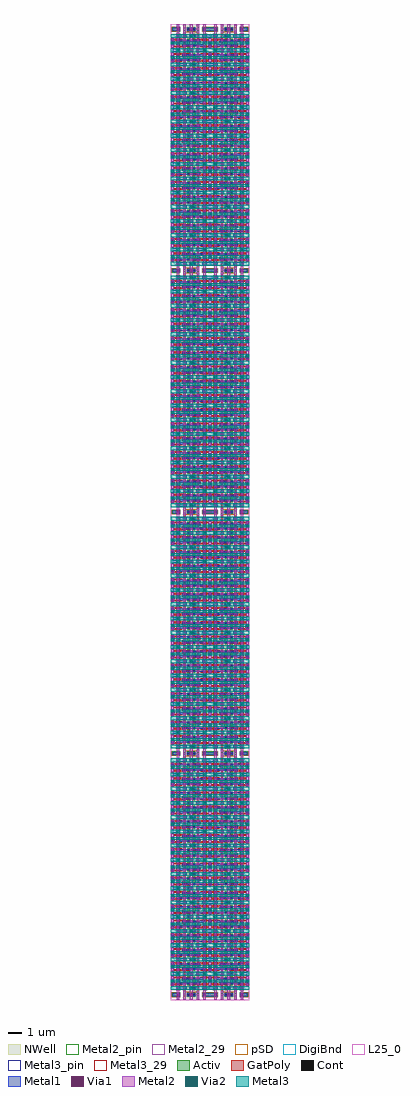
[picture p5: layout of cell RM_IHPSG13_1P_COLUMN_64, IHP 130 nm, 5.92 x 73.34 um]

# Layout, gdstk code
from math import pi, radians
import gdstk
lib = gdstk.Library(unit=1e-6, precision=1e-09)
def R(c, l, rs):  # rectangles x0, y0, x1, y1
    for r in rs: c.add(gdstk.rectangle(r[:2], r[2:], *l))
def A(c, l, x, y, w, h, nx, ny, dx, dy):  # array of equal rectangles
    R(c, l, [(x+i*dx, y+j*dy, x+i*dx+w, y+j*dy+h) for i in range(nx) for j in range(ny)])
def P(c, l, *ps):  # polygons
    for p in ps: c.add(gdstk.Polygon(p, *l))
Activ = (1, 0)
GatPoly = (5, 0)
Cont = (6, 0)
Metal1 = (8, 0)
Metal2 = (10, 0)
Metal2_pin = (10, 2)
Metal2_29 = (10, 29)
pSD = (14, 0)
DigiBnd = (16, 0)
Via1 = (19, 0)
L25_0 = (25, 0)
Via2 = (29, 0)
Metal3 = (30, 0)
Metal3_pin = (30, 2)
Metal3_29 = (30, 29)
NWell = (31, 0)

rm_ihpsg13_1p_bitkit_16x = lib.new_cell('RM_IHPSG13_1P_BITKIT_16x2_EDGE_TB')

via_m1_activ_db_0x02835b = lib.new_cell('VIA_M1_Activ_db_0x02835b9b')
R(via_m1_activ_db_0x02835b, Activ, [(-0.15,-0.15,0.15,0.15)])
R(via_m1_activ_db_0x02835b, Cont, [(-0.08,-0.08,0.08,0.08)])
R(via_m1_activ_db_0x02835b, Metal1, [(-0.13,-0.08,0.13,0.08)])

m1_gatpoly_cdns_75648116 = lib.new_cell('M1_GatPoly_CDNS_7564811692544')
R(m1_gatpoly_cdns_75648116, GatPoly, [(-0.15,-0.15,0.15,0.15)])
R(m1_gatpoly_cdns_75648116, Cont, [(-0.08,-0.08,0.08,0.08)])
R(m1_gatpoly_cdns_75648116, Metal1, [(-0.13,-0.08,0.13,0.08)])

rm_ihpsg13_1p_bitkit_cel = lib.new_cell('RM_IHPSG13_1P_BITKIT_CELL_SUB')
R(rm_ihpsg13_1p_bitkit_cel, Activ, [(-1.145,-0.685,-0.845,0.15), (-0.305,-0.32,-0.105,-0.02), (-0.305,-0.21,-0.155,0.66), (-1.145,-0.15,-0.845,0.66), (-0.305,0.385,-0.105,0.685)])
R(rm_ihpsg13_1p_bitkit_cel, GatPoly, [(-1.315,-0.32,-0.665,-0.19), (-0.705,0.16,-0.37,0.29), (-0.445,0.16,-0.025,0.29), (-1.315,0.19,-0.625,0.32)])
R(rm_ihpsg13_1p_bitkit_cel, Cont, [(-0.285,-0.25,-0.125,-0.09), (-1.075,-0.08,-0.915,0.08), (-1.075,-0.08,-0.915,0.08), (-0.285,0.455,-0.125,0.615)])
R(rm_ihpsg13_1p_bitkit_cel, Metal1, [(-1.125,-0.64,-0.355,-0.43), (-1.535,-0.255,-1.275,0.145), (-1.075,-0.25,0,-0.09), (-0.285,-0.25,-0.125,-0.09), (-1.075,-0.15,-0.915,0.15), (-0.685,0.09,0,0.25), (-0.335,0.43,0.145,0.64)])
P(rm_ihpsg13_1p_bitkit_cel, pSD, [(-0.405,-0.865),(-0.525,-0.745),(-0.525,0.745),(-0.405,0.865),(0.12,0.865),(0.12,-0.865)])
R(rm_ihpsg13_1p_bitkit_cel, Via1, [(-0.595,-0.63,-0.405,-0.44), (-1.5,-0.095,-1.31,0.095), (-1.09,0.44,-0.9,0.63), (-0.095,0.44,0.095,0.63)])
R(rm_ihpsg13_1p_bitkit_cel, NWell, [(-0.575,-0.995,0.205,0.995)])
rm_ihpsg13_1p_bitkit_cel.add(gdstk.FlexPath([(-0.83,0.535),(-1.405,0.535)], 0.21, ends="flush", simple_path=True, layer=8, datatype=0))  # Metal1
rm_ihpsg13_1p_bitkit_cel.add(gdstk.FlexPath([(-1.405,-0.36),(-1.405,0.36)], 0.2, ends="flush", simple_path=True, layer=10, datatype=0))  # Metal2
rm_ihpsg13_1p_bitkit_cel.add(gdstk.FlexPath([(-0.995,-0.68),(-0.995,0.68)], 0.2, ends="flush", simple_path=True, layer=10, datatype=0))  # Metal2
rm_ihpsg13_1p_bitkit_cel.add(gdstk.FlexPath([(-0.5,-0.68),(-0.5,0.68)], 0.2, ends="flush", simple_path=True, layer=10, datatype=0))  # Metal2
rm_ihpsg13_1p_bitkit_cel.add(gdstk.FlexPath([(0,-0.68),(0,0.68)], 0.2, ends="flush", simple_path=True, layer=10, datatype=0))  # Metal2
rm_ihpsg13_1p_bitkit_cel.add(gdstk.Reference(via_m1_activ_db_0x02835b, (-0.995,0.535)))
rm_ihpsg13_1p_bitkit_cel.add(gdstk.Reference(via_m1_activ_db_0x02835b, (-0.995,-0.535), rotation=pi))
rm_ihpsg13_1p_bitkit_cel.add(gdstk.Reference(m1_gatpoly_cdns_75648116, (-1.405,-0.17)))
rm_ihpsg13_1p_bitkit_cel.add(gdstk.Reference(m1_gatpoly_cdns_75648116, (-0.555,0.17)))
rm_ihpsg13_1p_bitkit_cel.add(gdstk.Label('pmos', (-0.33,0.225), layer=63, texttype=0))
rm_ihpsg13_1p_bitkit_cel.add(gdstk.Label('nmos', (-0.995,0.255), layer=63, texttype=0))
rm_ihpsg13_1p_bitkit_cel.add(gdstk.Label('nmos', (-0.995,-0.255), layer=63, texttype=0))

lvsres_db_0x02834b9a = lib.new_cell('lvsres_db_0x02834b9a')
R(lvsres_db_0x02834b9a, Metal3, [(-0.5,0,0.5,0.2)])
R(lvsres_db_0x02834b9a, Metal3_pin, [(-0.5,0,-0.3,0.2), (0.3,0,0.5,0.2)])
R(lvsres_db_0x02834b9a, Metal3_29, [(-0.3,0,0.3,0.2)])
lvsres_db_0x02834b9a.add(gdstk.Label('MINUS', (0.4,0.1), layer=63, texttype=0))
lvsres_db_0x02834b9a.add(gdstk.Label('PLUS', (-0.4,0.1), layer=63, texttype=0))

lvsres_db_0x0283509a = lib.new_cell('lvsres_db_0x0283509a')
R(lvsres_db_0x0283509a, Metal2, [(-0.5,0,0.5,0.2)])
R(lvsres_db_0x0283509a, Metal2_pin, [(-0.5,0,-0.3,0.2), (0.3,0,0.5,0.2)])
R(lvsres_db_0x0283509a, Metal2_29, [(-0.3,0,0.3,0.2)])
lvsres_db_0x0283509a.add(gdstk.Label('MINUS', (0.4,0.1), layer=63, texttype=0))
lvsres_db_0x0283509a.add(gdstk.Label('PLUS', (-0.4,0.1), layer=63, texttype=0))

c_rm_ihpsg13_1p_bitkit_cel = lib.new_cell('RM_IHPSG13_1P_BITKIT_CELL')
A(c_rm_ihpsg13_1p_bitkit_cel, Metal2_pin, -1.095, -0.68, 0.2, 1.36, 3, 1, 0.995, 0)
R(c_rm_ihpsg13_1p_bitkit_cel, Metal2_pin, [(-0.6,-0.63,-0.4,-0.44), (0.4,-0.63,0.6,-0.44), (-0.6,0.44,-0.4,0.63), (0.4,0.44,0.6,0.63)])
R(c_rm_ihpsg13_1p_bitkit_cel, DigiBnd, [(-1.555,-0.995,1.555,0.995)])
R(c_rm_ihpsg13_1p_bitkit_cel, Via1, [(-1.5,-0.095,-1.31,0.095)])
R(c_rm_ihpsg13_1p_bitkit_cel, L25_0, [(-1.555,-0.995,1.555,0.995)])
R(c_rm_ihpsg13_1p_bitkit_cel, Via2, [(-1.5,-0.095,-1.31,0.095), (1.31,-0.095,1.5,0.095)])
R(c_rm_ihpsg13_1p_bitkit_cel, Metal3_pin, [(-1.55,-0.1,-1.5,0.1), (1.5,-0.1,1.55,0.1)])
c_rm_ihpsg13_1p_bitkit_cel.add(gdstk.FlexPath([(1.55,0),(-1.55,0)], 0.2, ends="flush", simple_path=True, layer=30, datatype=0))  # Metal3
c_rm_ihpsg13_1p_bitkit_cel.add(gdstk.Reference(rm_ihpsg13_1p_bitkit_cel, (0,0)))
c_rm_ihpsg13_1p_bitkit_cel.add(gdstk.Reference(rm_ihpsg13_1p_bitkit_cel, (0,0), rotation=pi))
c_rm_ihpsg13_1p_bitkit_cel.add(gdstk.Reference(lvsres_db_0x02834b9a, (0,0.1), rotation=pi))
c_rm_ihpsg13_1p_bitkit_cel.add(gdstk.Reference(lvsres_db_0x0283509a, (-0.4,0), rotation=pi/2))
c_rm_ihpsg13_1p_bitkit_cel.add(gdstk.Reference(lvsres_db_0x0283509a, (0.6,0), rotation=pi/2))
c_rm_ihpsg13_1p_bitkit_cel.add(gdstk.Label('BLT_TOP', (-0.5,0.535), layer=10, texttype=25))
c_rm_ihpsg13_1p_bitkit_cel.add(gdstk.Label('BLT_BOT', (-0.5,-0.535), layer=10, texttype=25))
c_rm_ihpsg13_1p_bitkit_cel.add(gdstk.Label('VSS', (0.995,-0.02), layer=10, texttype=25))
c_rm_ihpsg13_1p_bitkit_cel.add(gdstk.Label('VSS', (-0.995,0), layer=10, texttype=25))
c_rm_ihpsg13_1p_bitkit_cel.add(gdstk.Label('VDD', (0,0), layer=10, texttype=25))
c_rm_ihpsg13_1p_bitkit_cel.add(gdstk.Label('BLC_TOP', (0.5,0.535), layer=10, texttype=25))
c_rm_ihpsg13_1p_bitkit_cel.add(gdstk.Label('BLC_BOT', (0.5,-0.535), layer=10, texttype=25))
c_rm_ihpsg13_1p_bitkit_cel.add(gdstk.Label('RWL', (1.525,0), layer=30, texttype=25))
c_rm_ihpsg13_1p_bitkit_cel.add(gdstk.Label('LWL', (-1.525,0), layer=30, texttype=25))

c_rm_ihpsg13_1p_bitkit_cel_ = lib.new_cell('RM_IHPSG13_1P_BITKIT_CELL_2x1')
R(c_rm_ihpsg13_1p_bitkit_cel_, Via2, [(-0.095,-0.63,0.095,-0.44), (-1.09,0.44,-0.9,0.63), (0.9,0.44,1.09,0.63), (-0.095,1.51,0.095,1.7)])
c_rm_ihpsg13_1p_bitkit_cel_.add(gdstk.FlexPath([(-1.55,0.535),(1.55,0.535)], 0.28, ends="flush", simple_path=True, layer=30, datatype=0))  # Metal3
c_rm_ihpsg13_1p_bitkit_cel_.add(gdstk.FlexPath([(-1.55,1.605),(1.55,1.605)], 0.28, ends="flush", simple_path=True, layer=30, datatype=0))  # Metal3
c_rm_ihpsg13_1p_bitkit_cel_.add(gdstk.FlexPath([(-1.55,-0.535),(1.55,-0.535)], 0.28, ends="flush", simple_path=True, layer=30, datatype=0))  # Metal3
c_rm_ihpsg13_1p_bitkit_cel_.add(gdstk.Reference(c_rm_ihpsg13_1p_bitkit_cel, (0,0)))
c_rm_ihpsg13_1p_bitkit_cel_.add(gdstk.Reference(c_rm_ihpsg13_1p_bitkit_cel, (0,1.07), x_reflection=True))

rm_ihpsg13_1p_bitkit_tap = lib.new_cell('RM_IHPSG13_1P_BITKIT_TAP')
R(rm_ihpsg13_1p_bitkit_tap, Activ, [(-1.48,-0.15,-0.845,0.15), (-0.295,-0.15,0.295,0.15), (-0.295,-0.15,0.005,0.15), (-0.005,-0.15,0.295,0.15), (0.845,-0.15,1.595,0.15)])
R(rm_ihpsg13_1p_bitkit_tap, Cont, [(-0.275,-0.08,-0.115,0.08), (0.115,-0.08,0.275,0.08)])
R(rm_ihpsg13_1p_bitkit_tap, Metal1, [(-1.405,-0.105,-0.85,0.105), (-0.325,-0.105,0.325,0.105), (0.85,-0.105,1.595,0.105), (-0.325,-0.08,-0.015,0.08), (0.015,-0.08,0.325,0.08)])
R(rm_ihpsg13_1p_bitkit_tap, pSD, [(-1.51,-0.18,-0.815,0.18), (0.815,-0.18,1.625,0.18)])
R(rm_ihpsg13_1p_bitkit_tap, DigiBnd, [(-1.555,-0.39,1.67,0.395)])
A(rm_ihpsg13_1p_bitkit_tap, Via1, -1.09, -0.095, 0.19, 0.19, 3, 1, 0.995, 0)
R(rm_ihpsg13_1p_bitkit_tap, L25_0, [(-1.555,-0.39,1.67,0.395)])
R(rm_ihpsg13_1p_bitkit_tap, NWell, [(-0.575,-0.39,0.575,0.395)])
rm_ihpsg13_1p_bitkit_tap.add(gdstk.FlexPath([(0,-0.365),(0,0.365)], 0.2, ends="flush", simple_path=True, layer=10, datatype=0))  # Metal2
rm_ihpsg13_1p_bitkit_tap.add(gdstk.FlexPath([(-0.995,-0.365),(-0.995,0.365)], 0.2, ends="flush", simple_path=True, layer=10, datatype=0))  # Metal2
rm_ihpsg13_1p_bitkit_tap.add(gdstk.FlexPath([(0.995,-0.365),(0.995,0.365)], 0.2, ends="flush", simple_path=True, layer=10, datatype=0))  # Metal2
rm_ihpsg13_1p_bitkit_tap.add(gdstk.FlexPath([(0.5,-0.365),(0.5,0.365)], 0.2, ends="flush", simple_path=True, layer=10, datatype=0))  # Metal2
rm_ihpsg13_1p_bitkit_tap.add(gdstk.FlexPath([(-0.5,-0.365),(-0.5,0.365)], 0.2, ends="flush", simple_path=True, layer=10, datatype=0))  # Metal2
rm_ihpsg13_1p_bitkit_tap.add(gdstk.Reference(via_m1_activ_db_0x02835b, (-0.995,0)))
rm_ihpsg13_1p_bitkit_tap.add(gdstk.Reference(via_m1_activ_db_0x02835b, (0.995,0), rotation=pi, x_reflection=True))

c_rm_ihpsg13_1p_bitkit_16x = lib.new_cell('RM_IHPSG13_1P_BITKIT_16x2_SRAM')
R(c_rm_ihpsg13_1p_bitkit_16x, Metal2_pin, [(0.805,-1.145,1.005,-0.945), (1.805,-1.145,2.005,-0.945), (3.615,-1.145,3.815,-0.945), (4.615,-1.145,4.815,-0.945), (0.805,16.995,1.005,17.195), (1.805,16.995,2.005,17.195), (3.615,16.995,3.815,17.195), (4.615,16.995,4.815,17.195)])
A(c_rm_ihpsg13_1p_bitkit_16x, Metal3_pin, -0.145, -0.1, 0.05, 0.2, 1, 16, 0, 1.07)
A(c_rm_ihpsg13_1p_bitkit_16x, Metal3_pin, 5.715, -0.1, 0.05, 0.2, 1, 16, 0, 1.07)
R(c_rm_ihpsg13_1p_bitkit_16x, Metal3_pin, [(-0.145,-0.675,5.765,-0.395), (-0.145,0.395,5.765,0.675)])
c_rm_ihpsg13_1p_bitkit_16x.add(gdstk.Reference(c_rm_ihpsg13_1p_bitkit_cel_, (1.405,0)))
c_rm_ihpsg13_1p_bitkit_16x.add(gdstk.Reference(c_rm_ihpsg13_1p_bitkit_cel_, (1.405,4.28)))
c_rm_ihpsg13_1p_bitkit_16x.add(gdstk.Reference(c_rm_ihpsg13_1p_bitkit_cel_, (1.405,8.56)))
c_rm_ihpsg13_1p_bitkit_16x.add(gdstk.Reference(c_rm_ihpsg13_1p_bitkit_cel_, (1.405,12.84)))
c_rm_ihpsg13_1p_bitkit_16x.add(gdstk.Reference(c_rm_ihpsg13_1p_bitkit_cel_, (4.215,16.05), rotation=pi))
c_rm_ihpsg13_1p_bitkit_16x.add(gdstk.Reference(c_rm_ihpsg13_1p_bitkit_cel_, (4.215,11.77), rotation=pi))
c_rm_ihpsg13_1p_bitkit_16x.add(gdstk.Reference(c_rm_ihpsg13_1p_bitkit_cel_, (4.215,7.49), rotation=pi))
c_rm_ihpsg13_1p_bitkit_16x.add(gdstk.Reference(c_rm_ihpsg13_1p_bitkit_cel_, (4.215,3.21), rotation=pi))
c_rm_ihpsg13_1p_bitkit_16x.add(gdstk.Reference(c_rm_ihpsg13_1p_bitkit_cel_, (1.405,11.77), x_reflection=True))
c_rm_ihpsg13_1p_bitkit_16x.add(gdstk.Reference(c_rm_ihpsg13_1p_bitkit_cel_, (1.405,16.05), x_reflection=True))
c_rm_ihpsg13_1p_bitkit_16x.add(gdstk.Reference(c_rm_ihpsg13_1p_bitkit_cel_, (1.405,7.49), x_reflection=True))
c_rm_ihpsg13_1p_bitkit_16x.add(gdstk.Reference(c_rm_ihpsg13_1p_bitkit_cel_, (1.405,3.21), x_reflection=True))
c_rm_ihpsg13_1p_bitkit_16x.add(gdstk.Reference(c_rm_ihpsg13_1p_bitkit_cel_, (4.215,8.56), rotation=pi, x_reflection=True))
c_rm_ihpsg13_1p_bitkit_16x.add(gdstk.Reference(c_rm_ihpsg13_1p_bitkit_cel_, (4.215,12.84), rotation=pi, x_reflection=True))
c_rm_ihpsg13_1p_bitkit_16x.add(gdstk.Reference(c_rm_ihpsg13_1p_bitkit_cel_, (4.215,4.28), rotation=pi, x_reflection=True))
c_rm_ihpsg13_1p_bitkit_16x.add(gdstk.Reference(c_rm_ihpsg13_1p_bitkit_cel_, (4.215,0), rotation=pi, x_reflection=True))
c_rm_ihpsg13_1p_bitkit_16x.add(gdstk.Reference(rm_ihpsg13_1p_bitkit_tap, (1.405,-1.045)))
c_rm_ihpsg13_1p_bitkit_16x.add(gdstk.Reference(rm_ihpsg13_1p_bitkit_tap, (4.215,17.095), rotation=pi))
c_rm_ihpsg13_1p_bitkit_16x.add(gdstk.Reference(rm_ihpsg13_1p_bitkit_tap, (1.405,17.095), x_reflection=True))
c_rm_ihpsg13_1p_bitkit_16x.add(gdstk.Reference(rm_ihpsg13_1p_bitkit_tap, (4.215,-1.045), rotation=pi, x_reflection=True))
c_rm_ihpsg13_1p_bitkit_16x.add(gdstk.Label('A_BLT_BOT<1>', (4.715,-1.045), layer=10, texttype=25))
c_rm_ihpsg13_1p_bitkit_16x.add(gdstk.Label('A_BLT_TOP<1>', (4.715,17.095), layer=10, texttype=25))
c_rm_ihpsg13_1p_bitkit_16x.add(gdstk.Label('A_BLC_BOT<1>', (3.715,-1.045), layer=10, texttype=25))
c_rm_ihpsg13_1p_bitkit_16x.add(gdstk.Label('A_BLC_TOP<1>', (3.715,17.095), layer=10, texttype=25))
c_rm_ihpsg13_1p_bitkit_16x.add(gdstk.Label('A_BLC_BOT<0>', (1.905,-1.045), layer=10, texttype=25))
c_rm_ihpsg13_1p_bitkit_16x.add(gdstk.Label('A_BLC_TOP<0>', (1.905,17.095), layer=10, texttype=25))
c_rm_ihpsg13_1p_bitkit_16x.add(gdstk.Label('A_BLT_BOT<0>', (0.905,-1.045), layer=10, texttype=25))
c_rm_ihpsg13_1p_bitkit_16x.add(gdstk.Label('A_BLT_TOP<0>', (0.905,17.095), layer=10, texttype=25))
c_rm_ihpsg13_1p_bitkit_16x.add(gdstk.Label('A_LWL<15>', (-0.12,16.05), layer=30, texttype=25))
c_rm_ihpsg13_1p_bitkit_16x.add(gdstk.Label('A_LWL<14>', (-0.12,14.98), layer=30, texttype=25))
c_rm_ihpsg13_1p_bitkit_16x.add(gdstk.Label('A_LWL<13>', (-0.12,13.91), layer=30, texttype=25))
c_rm_ihpsg13_1p_bitkit_16x.add(gdstk.Label('A_LWL<12>', (-0.12,12.84), layer=30, texttype=25))
c_rm_ihpsg13_1p_bitkit_16x.add(gdstk.Label('A_LWL<11>', (-0.12,11.77), layer=30, texttype=25))
c_rm_ihpsg13_1p_bitkit_16x.add(gdstk.Label('A_LWL<10>', (-0.12,10.7), layer=30, texttype=25))
c_rm_ihpsg13_1p_bitkit_16x.add(gdstk.Label('A_LWL<9>', (-0.12,9.63), layer=30, texttype=25))
c_rm_ihpsg13_1p_bitkit_16x.add(gdstk.Label('A_LWL<8>', (-0.12,8.56), layer=30, texttype=25))
c_rm_ihpsg13_1p_bitkit_16x.add(gdstk.Label('A_LWL<7>', (-0.12,7.49), layer=30, texttype=25))
c_rm_ihpsg13_1p_bitkit_16x.add(gdstk.Label('A_LWL<6>', (-0.12,6.42), layer=30, texttype=25))
c_rm_ihpsg13_1p_bitkit_16x.add(gdstk.Label('A_LWL<5>', (-0.12,5.35), layer=30, texttype=25))
c_rm_ihpsg13_1p_bitkit_16x.add(gdstk.Label('A_LWL<4>', (-0.12,4.28), layer=30, texttype=25))
c_rm_ihpsg13_1p_bitkit_16x.add(gdstk.Label('A_LWL<3>', (-0.12,3.21), layer=30, texttype=25))
c_rm_ihpsg13_1p_bitkit_16x.add(gdstk.Label('A_LWL<2>', (-0.12,2.14), layer=30, texttype=25))
c_rm_ihpsg13_1p_bitkit_16x.add(gdstk.Label('A_LWL<1>', (-0.12,1.07), layer=30, texttype=25))
c_rm_ihpsg13_1p_bitkit_16x.add(gdstk.Label('A_LWL<0>', (-0.12,0), layer=30, texttype=25))
c_rm_ihpsg13_1p_bitkit_16x.add(gdstk.Label('A_RWL<10>', (5.74,10.7), layer=30, texttype=25))
c_rm_ihpsg13_1p_bitkit_16x.add(gdstk.Label('A_RWL<11>', (5.74,11.77), layer=30, texttype=25))
c_rm_ihpsg13_1p_bitkit_16x.add(gdstk.Label('A_RWL<12>', (5.74,12.84), layer=30, texttype=25))
c_rm_ihpsg13_1p_bitkit_16x.add(gdstk.Label('A_RWL<13>', (5.74,13.91), layer=30, texttype=25))
c_rm_ihpsg13_1p_bitkit_16x.add(gdstk.Label('A_RWL<15>', (5.74,16.05), layer=30, texttype=25))
c_rm_ihpsg13_1p_bitkit_16x.add(gdstk.Label('VDD!', (0.255,-0.535), layer=30, texttype=25))
c_rm_ihpsg13_1p_bitkit_16x.add(gdstk.Label('A_RWL<14>', (5.74,14.98), layer=30, texttype=25))
c_rm_ihpsg13_1p_bitkit_16x.add(gdstk.Label('A_RWL<0>', (5.74,0), layer=30, texttype=25))
c_rm_ihpsg13_1p_bitkit_16x.add(gdstk.Label('VSS!', (0.255,0.535), layer=30, texttype=25))
c_rm_ihpsg13_1p_bitkit_16x.add(gdstk.Label('A_RWL<9>', (5.74,9.63), layer=30, texttype=25))
c_rm_ihpsg13_1p_bitkit_16x.add(gdstk.Label('A_RWL<8>', (5.74,8.56), layer=30, texttype=25))
c_rm_ihpsg13_1p_bitkit_16x.add(gdstk.Label('A_RWL<7>', (5.74,7.49), layer=30, texttype=25))
c_rm_ihpsg13_1p_bitkit_16x.add(gdstk.Label('A_RWL<6>', (5.74,6.42), layer=30, texttype=25))
c_rm_ihpsg13_1p_bitkit_16x.add(gdstk.Label('A_RWL<5>', (5.74,5.35), layer=30, texttype=25))
c_rm_ihpsg13_1p_bitkit_16x.add(gdstk.Label('A_RWL<4>', (5.74,4.28), layer=30, texttype=25))
c_rm_ihpsg13_1p_bitkit_16x.add(gdstk.Label('A_RWL<3>', (5.74,3.21), layer=30, texttype=25))
c_rm_ihpsg13_1p_bitkit_16x.add(gdstk.Label('A_RWL<2>', (5.74,2.14), layer=30, texttype=25))
c_rm_ihpsg13_1p_bitkit_16x.add(gdstk.Label('A_RWL<1>', (5.74,1.07), layer=30, texttype=25))
c_rm_ihpsg13_1p_bitkit_16x.add(gdstk.Label('VSS!', (0.045,0.535), layer=63, texttype=0))
c_rm_ihpsg13_1p_bitkit_16x.add(gdstk.Label('VDD!', (0.07,-0.535), layer=63, texttype=0))

rm_ihpsg13_1p_column_64 = lib.new_cell('RM_IHPSG13_1P_COLUMN_64')
rm_ihpsg13_1p_column_64.add(gdstk.Reference(rm_ihpsg13_1p_bitkit_16x, (0,0)))
rm_ihpsg13_1p_column_64.add(gdstk.Reference(rm_ihpsg13_1p_bitkit_16x, (0,72.56), x_reflection=True))
r = gdstk.Reference(c_rm_ihpsg13_1p_bitkit_16x, (0,0)); r.repetition = gdstk.Repetition(1, 4, v1=(0,0), v2=(0,18.14)); rm_ihpsg13_1p_column_64.add(r)

lib.write_gds('RM_IHPSG13_1P_COLUMN_64.gds')
